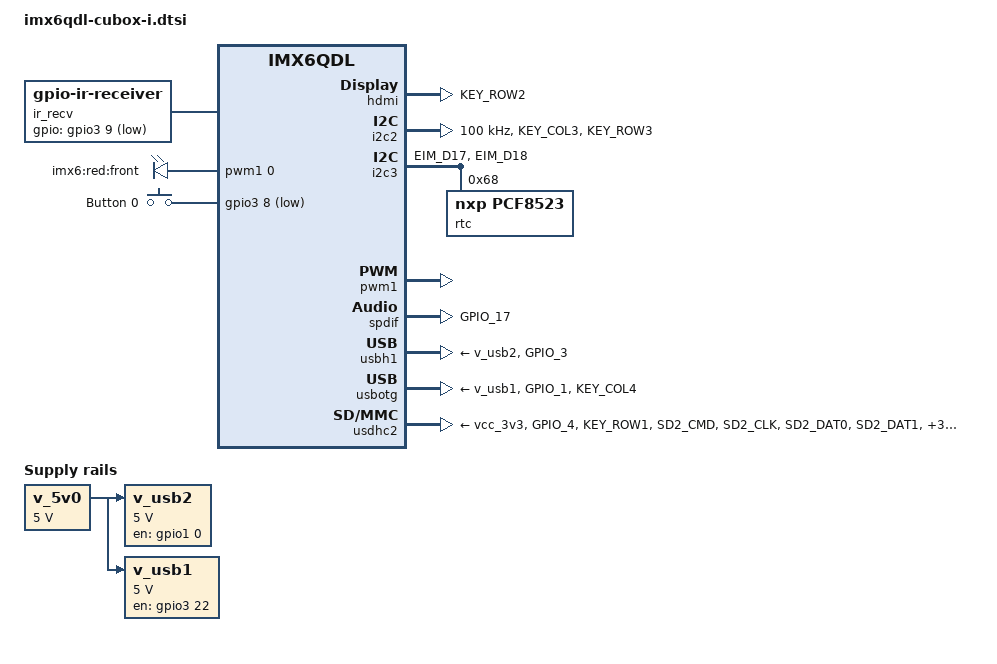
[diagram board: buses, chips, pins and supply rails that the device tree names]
/*
 * Copyright (C) 2014 Russell King
 *
 * This file is dual-licensed: you can use it either under the terms
 * of the GPL or the X11 license, at your option. Note that this dual
 * licensing only applies to this file, and not this project as a
 * whole.
 *
 *  a) This file is free software; you can redistribute it and/or
 *     modify it under the terms of the GNU General Public License
 *     version 2 as published by the Free Software Foundation.
 *
 *     This file is distributed in the hope that it will be useful,
 *     but WITHOUT ANY WARRANTY; without even the implied warranty of
 *     MERCHANTABILITY or FITNESS FOR A PARTICULAR PURPOSE.  See the
 *     GNU General Public License for more details.
 *
 * Or, alternatively,
 *
 *  b) Permission is hereby granted, free of charge, to any person
 *     obtaining a copy of this software and associated documentation
 *     files (the "Software"), to deal in the Software without
 *     restriction, including without limitation the rights to use,
 *     copy, modify, merge, publish, distribute, sublicense, and/or
 *     sell copies of the Software, and to permit persons to whom the
 *     Software is furnished to do so, subject to the following
 *     conditions:
 *
 *     The above copyright notice and this permission notice shall be
 *     included in all copies or substantial portions of the Software.
 *
 *     THE SOFTWARE IS PROVIDED "AS IS", WITHOUT WARRANTY OF ANY KIND,
 *     EXPRESS OR IMPLIED, INCLUDING BUT NOT LIMITED TO THE WARRANTIES
 *     OF MERCHANTABILITY, FITNESS FOR A PARTICULAR PURPOSE AND
 *     NONINFRINGEMENT. IN NO EVENT SHALL THE AUTHORS OR COPYRIGHT
 *     HOLDERS BE LIABLE FOR ANY CLAIM, DAMAGES OR OTHER LIABILITY,
 *     WHETHER IN AN ACTION OF CONTRACT, TORT OR OTHERWISE, ARISING
 *     FROM, OUT OF OR IN CONNECTION WITH THE SOFTWARE OR THE USE OR
 *     OTHER DEALINGS IN THE SOFTWARE.
 */
#include <dt-bindings/input/input.h>
#include <dt-bindings/gpio/gpio.h>

/ {
	ir_recv: ir-receiver {
		compatible = "gpio-ir-receiver";
		gpios = <&gpio3 9 1>;
		pinctrl-names = "default";
		pinctrl-0 = <&pinctrl_cubox_i_ir>;
	};

	pwmleds {
		compatible = "pwm-leds";
		pinctrl-names = "default";
		pinctrl-0 = <&pinctrl_cubox_i_pwm1>;

		front {
			active-low;
			label = "imx6:red:front";
			max-brightness = <248>;
			pwms = <&pwm1 0 50000>;
		};
	};

	v_5v0: regulator-v-5v0 {
		compatible = "regulator-fixed";
		regulator-always-on;
		regulator-max-microvolt = <5000000>;
		regulator-min-microvolt = <5000000>;
		regulator-name = "v_5v0";
	};

	v_usb2: regulator-v-usb2 {
		compatible = "regulator-fixed";
		enable-active-high;
		gpio = <&gpio1 0 0>;
		pinctrl-names = "default";
		pinctrl-0 = <&pinctrl_cubox_i_usbh1_vbus>;
		regulator-max-microvolt = <5000000>;
		regulator-min-microvolt = <5000000>;
		regulator-name = "v_usb2";
		vin-supply = <&v_5v0>;
	};

	v_usb1: regulator-v-usb1 {
		compatible = "regulator-fixed";
		enable-active-high;
		gpio = <&gpio3 22 0>;
		pinctrl-names = "default";
		pinctrl-0 = <&pinctrl_cubox_i_usbotg_vbus>;
		regulator-max-microvolt = <5000000>;
		regulator-min-microvolt = <5000000>;
		regulator-name = "v_usb1";
		vin-supply = <&v_5v0>;
	};

	sound-spdif {
		compatible = "fsl,imx-audio-spdif";
		model = "Integrated SPDIF";
		/* IMX6 doesn't implement this yet */
		spdif-controller = <&spdif>;
		spdif-out;
	};

	gpio-keys {
		compatible = "gpio-keys";
		pinctrl-0 = <&pinctrl_gpio_key>;
		pinctrl-names = "default";

		button_0 {
			label = "Button 0";
			gpios = <&gpio3 8 GPIO_ACTIVE_LOW>;
			linux,code = <BTN_0>;
		};
	};
};

&hdmi {
	pinctrl-names = "default";
	pinctrl-0 = <&pinctrl_cubox_i_hdmi>;
	ddc-i2c-bus = <&i2c2>;
	status = "okay";
};

&i2c2 {
	clock-frequency = <100000>;
	pinctrl-names = "default";
	pinctrl-0 = <&pinctrl_cubox_i_i2c2>;
	status = "okay";
};

&i2c3 {
	pinctrl-names = "default";
	pinctrl-0 = <&pinctrl_cubox_i_i2c3>;

	status = "okay";

	rtc@68 {
		compatible = "nxp,pcf8523";
		reg = <0x68>;
	};
};

&iomuxc {
	cubox_i {
		pinctrl_cubox_i_hdmi: cubox-i-hdmi {
			fsl,pins = <
				MX6QDL_PAD_KEY_ROW2__HDMI_TX_CEC_LINE 0x1f8b0
			>;
		};

		pinctrl_cubox_i_i2c2: cubox-i-i2c2 {
			fsl,pins = <
				MX6QDL_PAD_KEY_COL3__I2C2_SCL 0x4001b8b1
				MX6QDL_PAD_KEY_ROW3__I2C2_SDA 0x4001b8b1
			>;
		};

		pinctrl_cubox_i_i2c3: cubox-i-i2c3 {
			fsl,pins = <
				MX6QDL_PAD_EIM_D17__I2C3_SCL 0x4001b8b1
				MX6QDL_PAD_EIM_D18__I2C3_SDA 0x4001b8b1
			>;
		};

		pinctrl_cubox_i_ir: cubox-i-ir {
			fsl,pins = <
				MX6QDL_PAD_EIM_DA9__GPIO3_IO09 0x80000000
			>;
		};

		pinctrl_cubox_i_pwm1: cubox-i-pwm1-front-led {
			fsl,pins = <MX6QDL_PAD_DISP0_DAT8__PWM1_OUT 0x1b0b0>;
		};

		pinctrl_cubox_i_spdif: cubox-i-spdif {
			fsl,pins = <MX6QDL_PAD_GPIO_17__SPDIF_OUT 0x13091>;
		};

		pinctrl_cubox_i_usbh1: cubox-i-usbh1 {
			fsl,pins = <MX6QDL_PAD_GPIO_3__USB_H1_OC 0x1b0b0>;
		};

		pinctrl_cubox_i_usbh1_vbus: cubox-i-usbh1-vbus {
			fsl,pins = <MX6QDL_PAD_GPIO_0__GPIO1_IO00 0x4001b0b0>;
		};

		pinctrl_cubox_i_usbotg: cubox-i-usbotg {
			/*
			 * The Cubox-i pulls ID low, but as it's pointless
			 * leaving it as a pull-up, even if it is just 10uA.
			 */
			fsl,pins = <
				MX6QDL_PAD_GPIO_1__USB_OTG_ID 0x13059
				MX6QDL_PAD_KEY_COL4__USB_OTG_OC 0x1b0b0
			>;
		};

		pinctrl_cubox_i_usbotg_vbus: cubox-i-usbotg-vbus {
			fsl,pins = <MX6QDL_PAD_EIM_D22__GPIO3_IO22 0x4001b0b0>;
		};

		pinctrl_cubox_i_usdhc2_aux: cubox-i-usdhc2-aux {
			fsl,pins = <
				MX6QDL_PAD_GPIO_4__GPIO1_IO04    0x1f071
				MX6QDL_PAD_KEY_ROW1__SD2_VSELECT 0x1b071
			>;
		};

		pinctrl_cubox_i_usdhc2: cubox-i-usdhc2 {
			fsl,pins = <
				MX6QDL_PAD_SD2_CMD__SD2_CMD    0x17059
				MX6QDL_PAD_SD2_CLK__SD2_CLK    0x10059
				MX6QDL_PAD_SD2_DAT0__SD2_DATA0 0x17059
				MX6QDL_PAD_SD2_DAT1__SD2_DATA1 0x17059
				MX6QDL_PAD_SD2_DAT2__SD2_DATA2 0x17059
				MX6QDL_PAD_SD2_DAT3__SD2_DATA3 0x13059
			>;
		};

		pinctrl_gpio_key: gpio-key {
			fsl,pins = <
				MX6QDL_PAD_EIM_DA8__GPIO3_IO08	0x17059
			>;
		};
	};
};

&pwm1 {
	status = "okay";
};

&spdif {
	pinctrl-names = "default";
	pinctrl-0 = <&pinctrl_cubox_i_spdif>;
	status = "okay";
};

&usbh1 {
	pinctrl-names = "default";
	pinctrl-0 = <&pinctrl_cubox_i_usbh1>;
	vbus-supply = <&v_usb2>;
	status = "okay";
};

&usbotg {
	pinctrl-names = "default";
	pinctrl-0 = <&pinctrl_cubox_i_usbotg>;
	vbus-supply = <&v_usb1>;
	status = "okay";
};

&usdhc2 {
	pinctrl-names = "default";
	pinctrl-0 = <&pinctrl_cubox_i_usdhc2_aux &pinctrl_cubox_i_usdhc2>;
	vmmc-supply = <&vcc_3v3>;
	cd-gpios = <&gpio1 4 GPIO_ACTIVE_LOW>;
	status = "okay";
};

&vcc_3v3 {
	vin-supply = <&v_5v0>;
};
